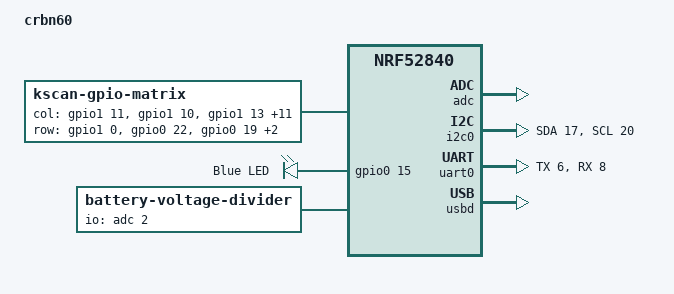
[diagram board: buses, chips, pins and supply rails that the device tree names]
/*
 * Copyright (c) 2021 Polarity Works
 *
 * SPDX-License-Identifier: MIT
 */

/dts-v1/;
#include <nordic/nrf52840_qiaa.dtsi>

/ {
	model = "crbn60";
	compatible = "crbn60";

	chosen {
		zephyr,code-partition = &code_partition;
		zephyr,sram = &sram0;
		zephyr,flash = &flash0;
    zmk,kscan = &kscan0;
	};

  kscan0: kscan_0 {
		compatible = "zmk,kscan-gpio-matrix";
		label = "KSCAN";
		diode-direction = "col2row";

		col-gpios
			= <&gpio1 11 GPIO_ACTIVE_HIGH>
			, <&gpio1 10 GPIO_ACTIVE_HIGH>
			, <&gpio1 13 GPIO_ACTIVE_HIGH>
			, <&gpio1 15 GPIO_ACTIVE_HIGH>
			, <&gpio0 3 GPIO_ACTIVE_HIGH>
			, <&gpio0 2 GPIO_ACTIVE_HIGH>
			, <&gpio0 28 GPIO_ACTIVE_HIGH>
			, <&gpio0 29 GPIO_ACTIVE_HIGH>
			, <&gpio0 30 GPIO_ACTIVE_HIGH>
			, <&gpio0 31 GPIO_ACTIVE_HIGH>
			, <&gpio0 5 GPIO_ACTIVE_HIGH>
			, <&gpio0 7 GPIO_ACTIVE_HIGH>
      , <&gpio1 9 GPIO_ACTIVE_HIGH>
			, <&gpio0 12 GPIO_ACTIVE_HIGH>
			;

		row-gpios
			= <&gpio1 0 (GPIO_ACTIVE_HIGH | GPIO_PULL_DOWN)>
			, <&gpio0 22 (GPIO_ACTIVE_HIGH | GPIO_PULL_DOWN)>
			, <&gpio0 19 (GPIO_ACTIVE_HIGH | GPIO_PULL_DOWN)>
			, <&gpio0 21 (GPIO_ACTIVE_HIGH | GPIO_PULL_DOWN)>
      , <&gpio1 23 (GPIO_ACTIVE_HIGH | GPIO_PULL_DOWN)>
			;
	};

	leds {
		compatible = "gpio-leds";
		blue_led: led_0 {
			gpios = <&gpio0 15 GPIO_ACTIVE_HIGH>;
			label = "Blue LED";
		};
	};

	vbatt {
		compatible = "zmk,battery-voltage-divider";
		label = "BATTERY";
		io-channels = <&adc 2>;
		output-ohms = <2000000>;
		full-ohms = <(2000000 + 806000)>;
	};
};

&adc {
	status = "okay";
};

&gpiote {
	status = "okay";
};

&gpio0 {
	status = "okay";
};

&gpio1 {
	status = "okay";
};

&i2c0 {
	compatible = "nordic,nrf-twi";
	sda-pin = <17>;
	scl-pin = <20>;
};

&uart0 {
	compatible = "nordic,nrf-uarte";
	tx-pin = <6>;
	rx-pin = <8>;
};

&usbd {
	status = "okay";
};


&flash0 {
	/*
	 * For more information, see:
	 * http://docs.zephyrproject.org/latest/devices/dts/flash_partitions.html
	 */
	partitions {
		compatible = "fixed-partitions";
		#address-cells = <1>;
		#size-cells = <1>;

		sd_partition: partition@0 {
			label = "softdevice";
			reg = <0x00000000 0x00026000>;
		};
		code_partition: partition@26000 {
			label = "code_partition";
			reg = <0x00026000 0x000c6000>;
		};

		/*
		 * The flash starting at 0x000ec000 and ending at
		 * 0x000f3fff is reserved for use by the application.
		 */

		/*
		 * Storage partition will be used by FCB/LittleFS/NVS
		 * if enabled.
		 */
		storage_partition: partition@ec000 {
			label = "storage";
			reg = <0x000ec000 0x00008000>;
		};

		boot_partition: partition@f4000 {
			label = "adafruit_boot";
			reg = <0x000f4000 0x0000c000>;
		};
	};
};
